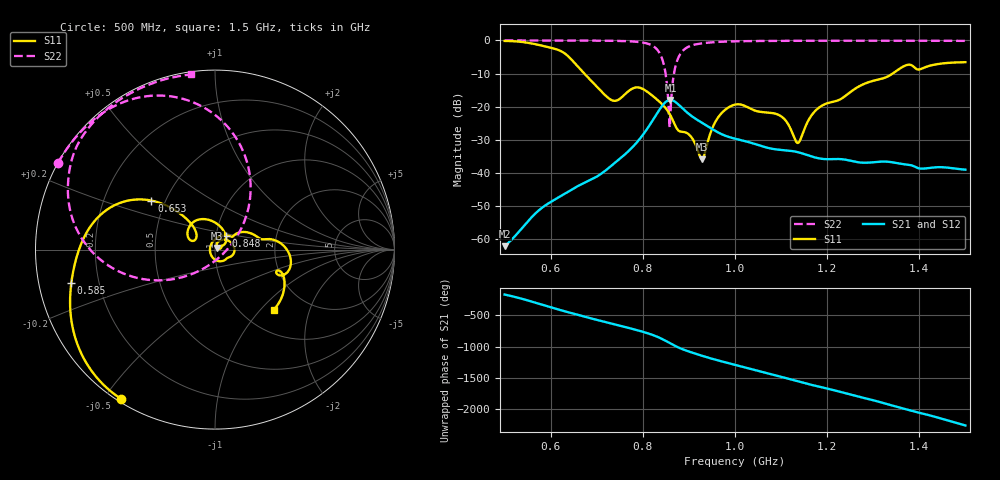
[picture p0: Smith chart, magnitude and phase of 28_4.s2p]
! TOUCHSTONE file generated by CST MICROWAVE STUDIO
! Date and time: Wed Oct 28 19:18:42 2020
! Project name: Scenario_1_Circular_Tissue_out_of_Line.cst
! Parameters = {dy1=122.207; L_HA=400; MT=2.54; Rad_Dielectric=30; Rad_Lower=7.3; Rad_Upper=30; a_HA=580; a_WG=246; b_HA=500; b_WG=121; c_HA=0; c_WG=187; d_feed=85; dx1=693; h_feed=15; h_lower=18; h_upper=40}
! Header version: 2018
! Port assignment regex: !\s*Touchstone port\s*([0-9]+)\s*=\s*(CST MWS port|CST DS port)\s*([0-9]+|Zmin|Zmax)\s*\(\"(.*)\"\)(\s*mode\s*([0-9]+))?.*
! Touchstone port assignment:
! Touchstone port 1 = CST MWS port 1 ("")
! Touchstone port 2 = CST MWS port 2 ("")
# GHz S DB R 50
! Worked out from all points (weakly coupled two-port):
!   1001 points, 500 MHz to 1.5 GHz, reference 50 ohm
!   highest |S21| = -17.99 dB at 860 MHz (marker M1); lowest = -62.2 dB at 500 MHz (marker M2)
!   lowest |S11| = -36.0 dB at 928 MHz (marker M3), VSWR 1.03, Z = 51.3 + j1 ohm
!   |S11| at or under -10 dB: 672.8 MHz to 1.342 GHz (669.4 MHz wide, 66.4 % of centre)
!   |S22| runs from -26.3 to 0.0 dB; largest |S21 - S12| = 0.00011
!   S11 on the Smith chart (normalised r, x): 500 MHz: 0.01, -0.55; 585 MHz: 0.10, -0.11; 653 MHz: 0.42, +0.29; 848 MHz: 1.11, +0.17; 1.5 GHz: 1.38, -1.19
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0.5  -0.15 -122.2  -62.18 -169.7  -62.18 -169.7  -0.01 151.1
0.585  -1.70 -166.9  -50.19 18.4  -50.19 18.4  -0.02 145.2
0.653  -6.98 142.4  -44.47 -122.0  -44.48 -122.0  -0.03 139.7
0.667  -9.14 137.0  -43.44 -150.3  -43.44 -150.3  -0.04 138.3
0.734  -18.14 146.7  -37.61 85.7  -37.62 85.7  -0.12 130.2
0.779  -14.46 141.0  -32.05 -0.9  -32.05 -0.9  -0.32 120.6
0.834  -18.25 70.6  -21.37 -131.6  -21.37 -131.6  -3.30 83.8
0.848  -20.22 51.7  -18.80 178.3  -18.80 178.3  -8.96 56.5
0.855  -21.52 41.6  -18.12 150.1  -18.12 150.1  -18.04 27.1
0.86  -22.71 34.9  -17.99 129.7  -17.99 129.7  -21.93 -104.3
0.869  -25.37 27.7  -18.45 94.5  -18.45 94.5  -8.91 -151.4
0.879  -27.40 31.0  -19.59 59.9  -19.59 59.9  -4.66 -170.2
0.904  -29.00 16.6  -22.67 -8.7  -22.67 -8.7  -1.62 165.6
0.928  -35.97 37.9  -24.85 -65.1  -24.85 -65.1  -0.89 154.9
0.961  -23.75 56.0  -27.63 -136.1  -27.63 -136.1  -0.47 146.7
1  -19.40 6.6  -29.69 149.1  -29.69 149.1  -0.27 140.3
1.098  -22.74 -63.2  -33.06 -37.8  -33.06 -37.8  -0.13 129.9
1.136  -30.99 179.3  -33.76 -112.6  -33.76 -112.6  -0.11 126.7
1.167  -22.47 72.5  -35.10 -171.9  -35.10 -171.9  -0.09 124.2
1.334  -10.72 11.6  -36.69 -124.9  -36.69 -125.0  -0.09 111.5
1.374  -7.39 -8.2  -37.54 154.1  -37.54 154.1  -0.09 108.4
1.5  -6.58 -45.9  -39.06 -97.5  -39.15 -97.7  -0.13 97.9
